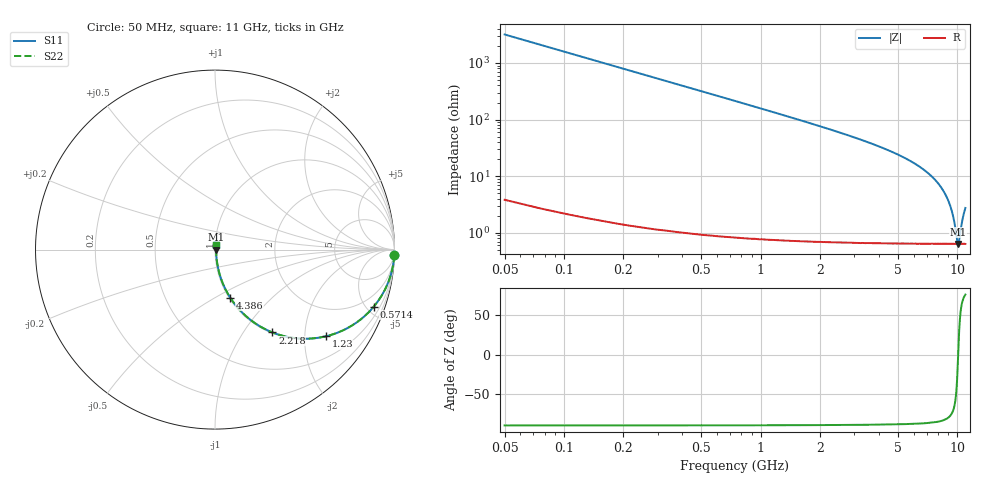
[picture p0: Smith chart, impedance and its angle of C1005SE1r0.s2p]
!	AVX	Thin	Film	Operation
!	Date:	March 2012
!	Description: Ultra-Miniature 01005 Size ACCU - P® Thin Film RF / Microwave Capacitor
!	Part Number:  C005YK1R0ABSTR
!	Serial	Measurements
#	MHz	S	db	R	50
!	S11	S21	S12	S22
!	dB	Phase	dB	Phase	dB	Phase	dB	Phase
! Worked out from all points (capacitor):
!   400 points, 50 MHz to 11 GHz, reference 50 ohm
!   read as one part in series: C = 1 pF near 104.9 MHz
!   lowest |Z| = 638 mohm at 10.09 GHz (marker M1)
!   series resonance near 10.11 GHz, so ESL is about 250 pH
!   S11 on the Smith chart (normalised r, x): 50 MHz: 1, -64; 571.4 MHz: 1.02, -5.55; 1.23 GHz: 1.01, -2.55; 2.218 GHz: 1.01, -1.37; 4.386 GHz: 1.01, -0.59; 11 GHz: 1.01, +0.05
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50  -0.00 -1.8  -30.06 88.1  -30.06 88.1  -0.00 -1.8
77.444  -0.01 -2.8  -26.27 87.1  -26.27 87.1  -0.01 -2.8
104.887  -0.02 -3.8  -23.64 86.1  -23.64 86.1  -0.02 -3.8
214.662  -0.08 -7.7  -17.48 82.2  -17.48 82.2  -0.08 -7.7
379.323  -0.24 -13.4  -12.69 76.4  -12.69 76.4  -0.24 -13.4
571.429  -0.54 -19.8  -9.41 70.0  -9.41 70.0  -0.54 -19.8
873.308  -1.17 -28.9  -6.32 60.9  -6.32 60.9  -1.17 -28.9
1230.075  -2.11 -38.0  -4.22 51.7  -4.22 51.7  -2.11 -38.0
1888.722  -4.04 -50.6  -2.24 38.9  -2.24 38.9  -4.04 -50.6
2218.045  -5.01 -55.3  -1.70 34.2  -1.70 34.2  -5.01 -55.3
3700  -9.19 -68.7  -0.61 20.3  -0.61 20.3  -9.19 -68.7
4386.09  -11.03 -72.4  -0.41 16.3  -0.41 16.3  -11.03 -72.4
5538.722  -14.16 -76.9  -0.23 11.3  -0.23 11.3  -14.16 -76.9
7350  -19.91 -80.6  -0.10 5.8  -0.10 5.8  -19.91 -80.6
8420.301  -24.78 -80.4  -0.07 3.3  -0.07 3.3  -24.78 -80.4
9188.722  -30.32 -76.3  -0.06 1.7  -0.06 1.7  -30.32 -76.3
9600.376  -35.24 -67.5  -0.06 0.9  -0.06 0.9  -35.24 -67.5
10012.03  -43.10 -24.6  -0.06 0.2  -0.06 0.2  -43.10 -24.6
10094.36  -43.92 -3.3  -0.06 0.0  -0.06 0.0  -43.92 -3.3
10204.14  -43.06 25.2  -0.06 -0.2  -0.06 -0.2  -43.06 25.2
10615.79  -35.57 66.7  -0.06 -0.9  -0.06 -0.9  -35.57 66.7
11000  -31.28 75.0  -0.06 -1.5  -0.06 -1.5  -31.28 75.0
